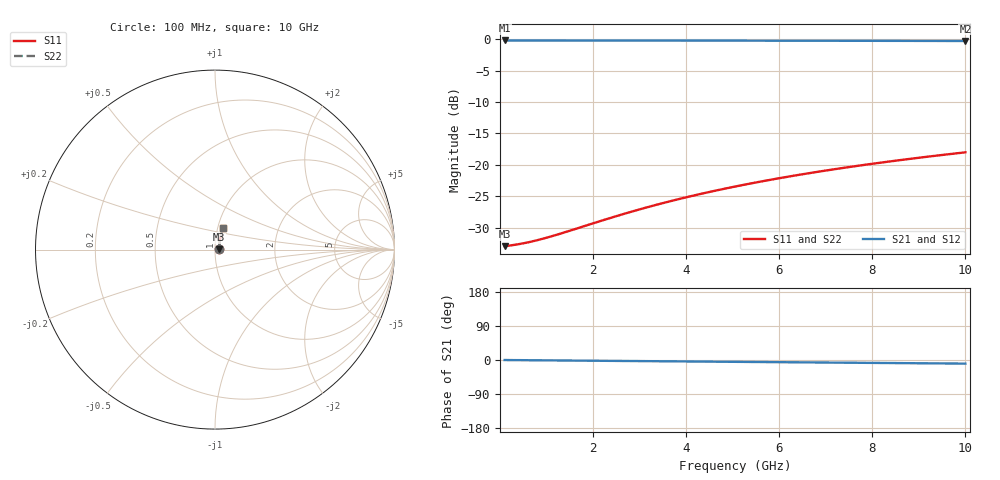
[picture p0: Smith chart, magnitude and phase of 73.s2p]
# Hz S RI R 50.00
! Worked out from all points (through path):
!   100 points, 100 MHz to 10 GHz, reference 50 ohm
!   highest |S21| = -0.20 dB at 100 MHz (marker M1); lowest = -0.3 dB at 10 GHz (marker M2)
!   group delay of S21, straight-line fit = 2.65 ps
!   lowest |S11| = -32.9 dB at 100 MHz (marker M3), VSWR 1.05, Z = 52.3 + j0.127 ohm
!   |S11| at or under -10 dB: start of sweep to end of sweep
!   |S22| runs from -32.9 to -18.0 dB; largest |S21 - S12| = 0
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1e8  0.0225 0.00121  0.9775 -0.00163  0.9775 -0.00163  0.0225 0.00121
3e8  0.0228 0.00363  0.9772 -0.0049  0.9772 -0.0049  0.0228 0.00363
5e8  0.023 0.00605  0.977 -0.00817  0.977 -0.00817  0.023 0.00605
8e8  0.0232 0.00967  0.9768 -0.0131  0.9768 -0.0131  0.0232 0.00967
1e9  0.0234 0.0121  0.9766 -0.0163  0.9766 -0.0163  0.0234 0.0121
1.2e9  0.0235 0.0145  0.9764 -0.0196  0.9764 -0.0196  0.0235 0.0145
1.8e9  0.0241 0.0217  0.9759 -0.0294  0.9759 -0.0294  0.0241 0.0217
2.3e9  0.0246 0.0277  0.9753 -0.0375  0.9753 -0.0375  0.0246 0.0277
2.7e9  0.0251 0.0325  0.9748 -0.044  0.9748 -0.044  0.0251 0.0325
3.1e9  0.0257 0.0373  0.9742 -0.0505  0.9742 -0.0505  0.0257 0.0373
3.4e9  0.0261 0.0409  0.9738 -0.0553  0.9738 -0.0553  0.0261 0.0409
3.8e9  0.0267 0.0457  0.9731 -0.0618  0.9731 -0.0618  0.0267 0.0457
4.2e9  0.0275 0.0505  0.9724 -0.0683  0.9724 -0.0683  0.0275 0.0505
4.6e9  0.0282 0.0552  0.9716 -0.0747  0.9716 -0.0747  0.0282 0.0552
5.1e9  0.0292 0.0611  0.9705 -0.0828  0.9705 -0.0828  0.0292 0.0611
5.5e9  0.0301 0.0659  0.9696 -0.0892  0.9696 -0.0892  0.0301 0.0659
5.9e9  0.0311 0.0706  0.9686 -0.0956  0.9686 -0.0956  0.0311 0.0706
6.7e9  0.0332 0.0799  0.9664 -0.1084  0.9664 -0.1084  0.0332 0.0799
7.5e9  0.0355 0.0892  0.9639 -0.1211  0.9639 -0.1211  0.0355 0.0892
8.4e9  0.0385 0.0996  0.9609 -0.1353  0.9609 -0.1353  0.0385 0.0996
9.2e9  0.0413 0.1087  0.9579 -0.1478  0.9579 -0.1478  0.0413 0.1087
1e10  0.0444 0.1177  0.9547 -0.1602  0.9547 -0.1602  0.0444 0.1177
